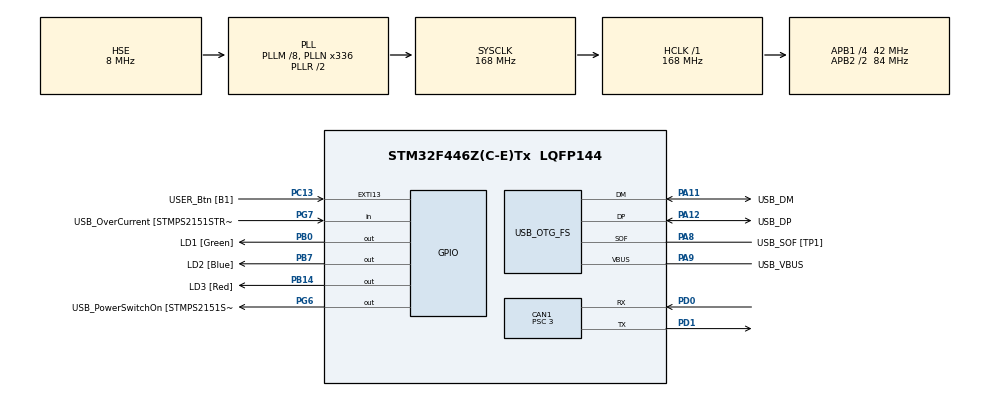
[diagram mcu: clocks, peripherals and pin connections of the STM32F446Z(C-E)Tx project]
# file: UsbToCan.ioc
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CAN1.BS1=CAN_BS1_11TQ
CAN1.BS2=CAN_BS2_2TQ
CAN1.CalculateBaudRate=1000000
CAN1.CalculateTimeBit=1000
CAN1.CalculateTimeQuantum=71.42857142857143
CAN1.Prescaler=3
CAN1.SJW=CAN_SJW_3TQ
FREERTOS.Tasks01=defaultTask,24,128,StartDefaultTask,Default,NULL,Dynamic,NULL,NULL
Mcu.Family=STM32F4
Mcu.Name=STM32F446Z(C-E)Tx
Mcu.Package=LQFP144
NVIC.CAN1_RX0_IRQn=true\:5\:0\:false\:false\:true\:true\:true\:true\:true
NVIC.CAN1_RX1_IRQn=true\:5\:0\:false\:false\:true\:true\:true\:true\:true
NVIC.CAN1_SCE_IRQn=true\:5\:0\:false\:false\:true\:true\:true\:true\:true
NVIC.CAN1_TX_IRQn=true\:5\:0\:false\:false\:true\:true\:true\:true\:true
NVIC.EXTI15_10_IRQn=true\:5\:0\:false\:false\:true\:true\:true\:true\:true
NVIC.OTG_FS_IRQn=true\:5\:0\:false\:false\:true\:true\:false\:true\:true
NVIC.PriorityGroup=NVIC_PRIORITYGROUP_4
NVIC.TIM6_DAC_IRQn=true\:15\:0\:false\:false\:true\:false\:false\:true\:true
NVIC.TimeBase=TIM6_DAC_IRQn
NVIC.TimeBaseIP=TIM6
PA10.GPIO_Label=USB_ID
PA10.Signal=USB_OTG_FS_ID
PA11.GPIO_Label=USB_DM
PA11.Mode=Device_Only
PA11.Signal=USB_OTG_FS_DM
PA12.GPIO_Label=USB_DP
PA12.Mode=Device_Only
PA12.Signal=USB_OTG_FS_DP
PA13.GPIO_Label=TMS
PA13.Mode=Serial_Wire
PA13.Signal=SYS_JTMS-SWDIO
PA14.GPIO_Label=TCK
PA14.Mode=Serial_Wire
PA14.Signal=SYS_JTCK-SWCLK
PA8.GPIO_Label=USB_SOF [TP1]
PA8.Mode=Activate_SOF_FS
PA8.Signal=USB_OTG_FS_SOF
PA9.GPIO_Label=USB_VBUS
PA9.Mode=Activate_VBUS
PA9.Signal=USB_OTG_FS_VBUS
PB0.GPIO_Label=LD1 [Green]
PB0.Signal=GPIO_Output
PB14.GPIO_Label=LD3 [Red]
PB14.Signal=GPIO_Output
PB7.GPIO_Label=LD2 [Blue]
PB7.Signal=GPIO_Output
PC13.GPIO_Label=USER_Btn [B1]
PC13.Signal=GPXTI13
PC14-OSC32_IN.Signal=RCC_OSC32_IN
PC15-OSC32_OUT.Signal=RCC_OSC32_OUT
PD0.Mode=CAN_Activate
PD0.Signal=CAN1_RX
PD1.Mode=CAN_Activate
PD1.Signal=CAN1_TX
PD8.GPIO_Label=STLK_RX [STM32F103CBT6_PA3]
PD8.Signal=USART3_TX
PD9.GPIO_Label=STLK_TX [STM32F103CBT6_PA2]
PD9.Signal=USART3_RX
PG6.GPIO_Label=USB_PowerSwitchOn [STMPS2151STR_EN]
PG6.Signal=GPIO_Output
PG7.GPIO_Label=USB_OverCurrent [STMPS2151STR_FAULT]
PG7.Signal=GPIO_Input
PH0-OSC_IN.GPIO_Label=MCO [STM32F103CBT6_PA8]
PH0-OSC_IN.Mode=HSE-External-Oscillator
PH0-OSC_IN.Signal=RCC_OSC_IN
PH1-OSC_OUT.Mode=HSE-External-Oscillator
PH1-OSC_OUT.Signal=RCC_OSC_OUT
ProjectManager.HeapSize=0x200
ProjectManager.StackSize=0x400
ProjectManager.TargetToolchain=STM32CubeIDE
RCC.48MHZClocksFreq_Value=24000000
RCC.AHBFreq_Value=168000000
RCC.APB1CLKDivider=RCC_HCLK_DIV4
RCC.APB1Freq_Value=42000000
RCC.APB1TimFreq_Value=84000000
RCC.APB2CLKDivider=RCC_HCLK_DIV2
RCC.APB2Freq_Value=84000000
RCC.APB2TimFreq_Value=168000000
RCC.CortexFreq_Value=168000000
RCC.HCLKFreq_Value=168000000
RCC.HSE_VALUE=8000000
RCC.HSI_VALUE=16000000
RCC.PLLM=8
RCC.PLLMUL=RCC_PLL_MUL9
RCC.PLLN=336
RCC.PLLQ=7
RCC.PRESCALERUSB=RCC_USBCLKSOURCE_PLL_DIV1_5
RCC.SYSCLKFreq_VALUE=168000000
RCC.SYSCLKSource=RCC_SYSCLKSOURCE_PLLRCLK
RCC.SYSCLKSourceVirtual=RCC_SYSCLKSOURCE_PLLCLK
RCC.USBFreq_Value=48000000
RCC.VCOOutputFreq_Value=336000000
USB_DEVICE.CLASS_NAME_FS=CDC
USB_DEVICE.VirtualMode-CDC_FS=Cdc
USB_DEVICE.VirtualModeFS=Cdc_FS
USB_OTG_FS.Sof_enable=ENABLE
USB_OTG_FS.VirtualMode=Device_Only
VP_FREERTOS_VS_CMSIS_V2.Mode=CMSIS_V2
VP_RTC_VS_RTC_Activate.Mode=RTC_Enabled
VP_SYS_VS_tim6.Mode=TIM6
VP_USB_DEVICE_VS_USB_DEVICE_CDC_FS.Mode=CDC_FS
board=NUCLEO-F446ZE

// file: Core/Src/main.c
/* USER CODE BEGIN Header */
/**
  ******************************************************************************
  * @file           : main.c
  * @brief          : Main program body
  ******************************************************************************
  * @attention
  *
  * Copyright (c) 2024 STMicroelectronics.
  * All rights reserved.
  *
  * This software is licensed under terms that can be found in the LICENSE file
  * in the root directory of this software component.
  * If no LICENSE file comes with this software, it is provided AS-IS.
  *
  ******************************************************************************
  */
/* USER CODE END Header */
#include "main.h"
#include "cmsis_os.h"
#include "usb_device.h"

CAN_HandleTypeDef hcan1;

RTC_HandleTypeDef hrtc;

/* Definitions for defaultTask */
osThreadId_t defaultTaskHandle;
const osThreadAttr_t defaultTask_attributes = {
  .name = "defaultTask",
  .stack_size = 128 * 4,
  .priority = (osPriority_t) osPriorityNormal,
};
/* USER CODE BEGIN PV */
TaskHandle_t rtc_task;
TaskHandle_t menu_task;
TaskHandle_t cmd_task;
TaskHandle_t print_task;
TaskHandle_t usb_init_task;
TaskHandle_t can_open_task;
TaskHandle_t can_open_wait_task;

QueueHandle_t q_data;
QueueHandle_t q_print;
QueueHandle_t cmd_data;
QueueHandle_t rec_data;
QueueHandle_t cmd_wait_data;

uint32_t debounce_ticks;

/* USER CODE END PV */

void SystemClock_Config(void);
static void MX_GPIO_Init(void);
static void MX_CAN1_Init(void);
static void MX_RTC_Init(void);
void StartDefaultTask(void *argument);

int main(void)
{

  /* USER CODE BEGIN 1 */
  BaseType_t status;
  /* USER CODE END 1 */

  /* MCU Configuration--------------------------------------------------------*/

  /* Reset of all peripherals, Initializes the Flash interface and the Systick. */
  HAL_Init();

  /* Configure the system clock */
  SystemClock_Config();

  /* Initialize all configured peripherals */
  MX_GPIO_Init();
  MX_CAN1_Init();
  MX_RTC_Init();

  /* Init scheduler */
  osKernelInitialize();

  /* USER CODE BEGIN RTOS_QUEUES */

  q_data = xQueueCreate(10, sizeof(QDATA));
  configASSERT(q_data != NULL);

  q_print = xQueueCreate(10, sizeof(QDATA));
  configASSERT(q_print != NULL);

  cmd_data = xQueueCreate(10, sizeof(command_t));
  configASSERT(cmd_data != NULL);

  rec_data = xQueueCreate(10, sizeof(receive_t));
  configASSERT(rec_data != NULL);

  cmd_wait_data = xQueueCreate(1, sizeof(command_t));
  configASSERT(rec_data != NULL);

  /* USER CODE END RTOS_QUEUES */

  /* Create the thread(s) */
  /* creation of defaultTask */
  defaultTaskHandle = osThreadNew(StartDefaultTask, NULL, &defaultTask_attributes);

  /* USER CODE BEGIN RTOS_THREADS */

    status = xTaskCreate(cmd_task_handler, "Task_CMD",  250, "Command Task", 2, &cmd_task);
    configASSERT(status == pdPASS);

    status = xTaskCreate(rtc_task_handler, "Task_RTC", 500, "RTC Task Handler", 2, &rtc_task);
    configASSERT(status == pdPASS);

    status = xTaskCreate(menu_task_handler, "Task_MENU",  250, "Generate Menu", 2, &menu_task);
    configASSERT(status == pdPASS);

    status = xTaskCreate(print_task_handler, "Task_PRINT",  250, "Print Menu to Terminal", 2, &print_task);
    configASSERT(status == pdPASS);

    status = xTaskCreate(can_open_task_handler, "Task_CO", 250, "Can open transactions", 2, &can_open_task);
    configASSERT(status == pdPASS);

    status = xTaskCreate(can_open_wait_task_handler, "Task_CO", 250, "Can open transactions", 2, &can_open_wait_task);
    configASSERT(status == pdPASS);

    debounce_ticks = HAL_GetTick();
  /* USER CODE END RTOS_THREADS */

  /* Start scheduler */
  osKernelStart();

  /* We should never get here as control is now taken by the scheduler */

  /* Infinite loop */
  while (1)
  {

  }
}

void SystemClock_Config(void)
{
  RCC_OscInitTypeDef RCC_OscInitStruct = {0};
  RCC_ClkInitTypeDef RCC_ClkInitStruct = {0};

  /** Configure the main internal regulator output voltage
  */
  __HAL_RCC_PWR_CLK_ENABLE();
  __HAL_PWR_VOLTAGESCALING_CONFIG(PWR_REGULATOR_VOLTAGE_SCALE1);

  /** Initializes the RCC Oscillators according to the specified parameters
  * in the RCC_OscInitTypeDef structure.
  */
  RCC_OscInitStruct.OscillatorType = RCC_OSCILLATORTYPE_LSI|RCC_OSCILLATORTYPE_HSE;
  RCC_OscInitStruct.HSEState = RCC_HSE_ON;
  RCC_OscInitStruct.LSEState = RCC_LSE_OFF;
  RCC_OscInitStruct.LSIState = RCC_LSI_ON;
  RCC_OscInitStruct.PLL.PLLState = RCC_PLL_ON;
  RCC_OscInitStruct.PLL.PLLSource = RCC_PLLSOURCE_HSE;
  RCC_OscInitStruct.PLL.PLLM = 8;
  RCC_OscInitStruct.PLL.PLLN = 336;
  RCC_OscInitStruct.PLL.PLLP = RCC_PLLP_DIV2;
  RCC_OscInitStruct.PLL.PLLQ = 7;
  RCC_OscInitStruct.PLL.PLLR = 2;
  if (HAL_RCC_OscConfig(&RCC_OscInitStruct) != HAL_OK)
  {
    Error_Handler();
  }

  /** Initializes the CPU, AHB and APB buses clocks
  */
  RCC_ClkInitStruct.ClockType = RCC_CLOCKTYPE_HCLK|RCC_CLOCKTYPE_SYSCLK
                              |RCC_CLOCKTYPE_PCLK1|RCC_CLOCKTYPE_PCLK2;
  RCC_ClkInitStruct.SYSCLKSource = RCC_SYSCLKSOURCE_PLLRCLK;
  RCC_ClkInitStruct.AHBCLKDivider = RCC_SYSCLK_DIV1;
  RCC_ClkInitStruct.APB1CLKDivider = RCC_HCLK_DIV4;
  RCC_ClkInitStruct.APB2CLKDivider = RCC_HCLK_DIV2;

  if (HAL_RCC_ClockConfig(&RCC_ClkInitStruct, FLASH_LATENCY_5) != HAL_OK)
  {
    Error_Handler();
  }
}

static void MX_CAN1_Init(void)
{

  hcan1.Instance = CAN1;
  hcan1.Init.Prescaler = 3;
  hcan1.Init.Mode = CAN_MODE_NORMAL;
  hcan1.Init.SyncJumpWidth = CAN_SJW_3TQ;
  hcan1.Init.TimeSeg1 = CAN_BS1_11TQ;
  hcan1.Init.TimeSeg2 = CAN_BS2_2TQ;
  hcan1.Init.TimeTriggeredMode = DISABLE;
  hcan1.Init.AutoBusOff = DISABLE;
  hcan1.Init.AutoWakeUp = DISABLE;
  hcan1.Init.AutoRetransmission = DISABLE;
  hcan1.Init.ReceiveFifoLocked = DISABLE;
  hcan1.Init.TransmitFifoPriority = DISABLE;
  if (HAL_CAN_Init(&hcan1) != HAL_OK)
  {
    Error_Handler();
  }

}

static void MX_RTC_Init(void)
{

  /** Initialize RTC Only
  */
  hrtc.Instance = RTC;
  hrtc.Init.HourFormat = RTC_HOURFORMAT_24;
  hrtc.Init.AsynchPrediv = 127;
  hrtc.Init.SynchPrediv = 255;
  hrtc.Init.OutPut = RTC_OUTPUT_DISABLE;
  hrtc.Init.OutPutPolarity = RTC_OUTPUT_POLARITY_HIGH;
  hrtc.Init.OutPutType = RTC_OUTPUT_TYPE_OPENDRAIN;
  if (HAL_RTC_Init(&hrtc) != HAL_OK)
  {
    Error_Handler();
  }

}

static void MX_GPIO_Init(void)
{
  GPIO_InitTypeDef GPIO_InitStruct = {0};

  /* GPIO Ports Clock Enable */
  __HAL_RCC_GPIOC_CLK_ENABLE();
  __HAL_RCC_GPIOH_CLK_ENABLE();
  __HAL_RCC_GPIOB_CLK_ENABLE();
  __HAL_RCC_GPIOD_CLK_ENABLE();
  __HAL_RCC_GPIOG_CLK_ENABLE();
  __HAL_RCC_GPIOA_CLK_ENABLE();

  /*Configure GPIO pin Output Level */
  HAL_GPIO_WritePin(GPIOB, LD1_Pin|LD3_Pin|LD2_Pin, GPIO_PIN_RESET);

  /*Configure GPIO pin Output Level */
  HAL_GPIO_WritePin(USB_PowerSwitchOn_GPIO_Port, USB_PowerSwitchOn_Pin, GPIO_PIN_RESET);

  /*Configure GPIO pin : USER_Btn_Pin */
  GPIO_InitStruct.Pin = USER_Btn_Pin;
  GPIO_InitStruct.Mode = GPIO_MODE_IT_RISING;
  GPIO_InitStruct.Pull = GPIO_NOPULL;
  HAL_GPIO_Init(USER_Btn_GPIO_Port, &GPIO_InitStruct);

  /*Configure GPIO pins : LD1_Pin LD3_Pin LD2_Pin */
  GPIO_InitStruct.Pin = LD1_Pin|LD3_Pin|LD2_Pin;
  GPIO_InitStruct.Mode = GPIO_MODE_OUTPUT_PP;
  GPIO_InitStruct.Pull = GPIO_NOPULL;
  GPIO_InitStruct.Speed = GPIO_SPEED_FREQ_LOW;
  HAL_GPIO_Init(GPIOB, &GPIO_InitStruct);

  /*Configure GPIO pins : STLK_RX_Pin STLK_TX_Pin */
  GPIO_InitStruct.Pin = STLK_RX_Pin|STLK_TX_Pin;
  GPIO_InitStruct.Mode = GPIO_MODE_AF_PP;
  GPIO_InitStruct.Pull = GPIO_NOPULL;
  GPIO_InitStruct.Speed = GPIO_SPEED_FREQ_VERY_HIGH;
  GPIO_InitStruct.Alternate = GPIO_AF7_USART3;
  HAL_GPIO_Init(GPIOD, &GPIO_InitStruct);

  /*Configure GPIO pin : USB_PowerSwitchOn_Pin */
  GPIO_InitStruct.Pin = USB_PowerSwitchOn_Pin;
  GPIO_InitStruct.Mode = GPIO_MODE_OUTPUT_PP;
  GPIO_InitStruct.Pull = GPIO_NOPULL;
  GPIO_InitStruct.Speed = GPIO_SPEED_FREQ_LOW;
  HAL_GPIO_Init(USB_PowerSwitchOn_GPIO_Port, &GPIO_InitStruct);

  /*Configure GPIO pin : USB_OverCurrent_Pin */
  GPIO_InitStruct.Pin = USB_OverCurrent_Pin;
  GPIO_InitStruct.Mode = GPIO_MODE_INPUT;
  GPIO_InitStruct.Pull = GPIO_NOPULL;
  HAL_GPIO_Init(USB_OverCurrent_GPIO_Port, &GPIO_InitStruct);

  /* EXTI interrupt init*/
  HAL_NVIC_SetPriority(EXTI15_10_IRQn, 5, 0);
  HAL_NVIC_EnableIRQ(EXTI15_10_IRQn);

}

/* USER CODE BEGIN 4 */

void ButtonPressedCallback(void)
{
	if(HAL_GetTick() > (debounce_ticks + 1000))
	{
		curr_state = sMainMenu;
		xTaskNotifyFromISR(menu_task, 0, eNoAction, NULL);
		debounce_ticks = HAL_GetTick();
	}
}

/* Called from the receive function in USB_DEVICE\App\usbd_cdc_if.h
 *
 */
void UsbRxCallback(uint8_t *data, uint8_t len)
{
   for(uint32_t i = 0; i < 4000; i++); //small debounce delay

   QDATA d;

   memcpy(d.payload, (uint8_t *) data, len+1);
   d.payload[len] = '\0';  //auto insert line termination
   d.len = len+1;

   xQueueSendFromISR(q_data, (void *) &d, NULL);
   xTaskNotifyFromISR(cmd_task, 0, eNoAction, NULL);

}

/* USER CODE END 4 */

void StartDefaultTask(void *argument)
{
  /* init code for USB_DEVICE */
  MX_USB_DEVICE_Init();
  /* USER CODE BEGIN 5 */
   osDelay(4000); //time for USB to initialize

	//curr_state = sMainMenu;
	//xTaskNotifyFromISR(menu_task, 0, eNoAction, NULL);

  /* Infinite loop */
   for(;;)
   {
	   osDelay(1000);
   }
  /* USER CODE END 5 */
}

void HAL_TIM_PeriodElapsedCallback(TIM_HandleTypeDef *htim)
{
  if (htim->Instance == TIM6) {
    HAL_IncTick();
  }
}

void Error_Handler(void)
{
  __disable_irq();
  while (1)
  {
  }
}
